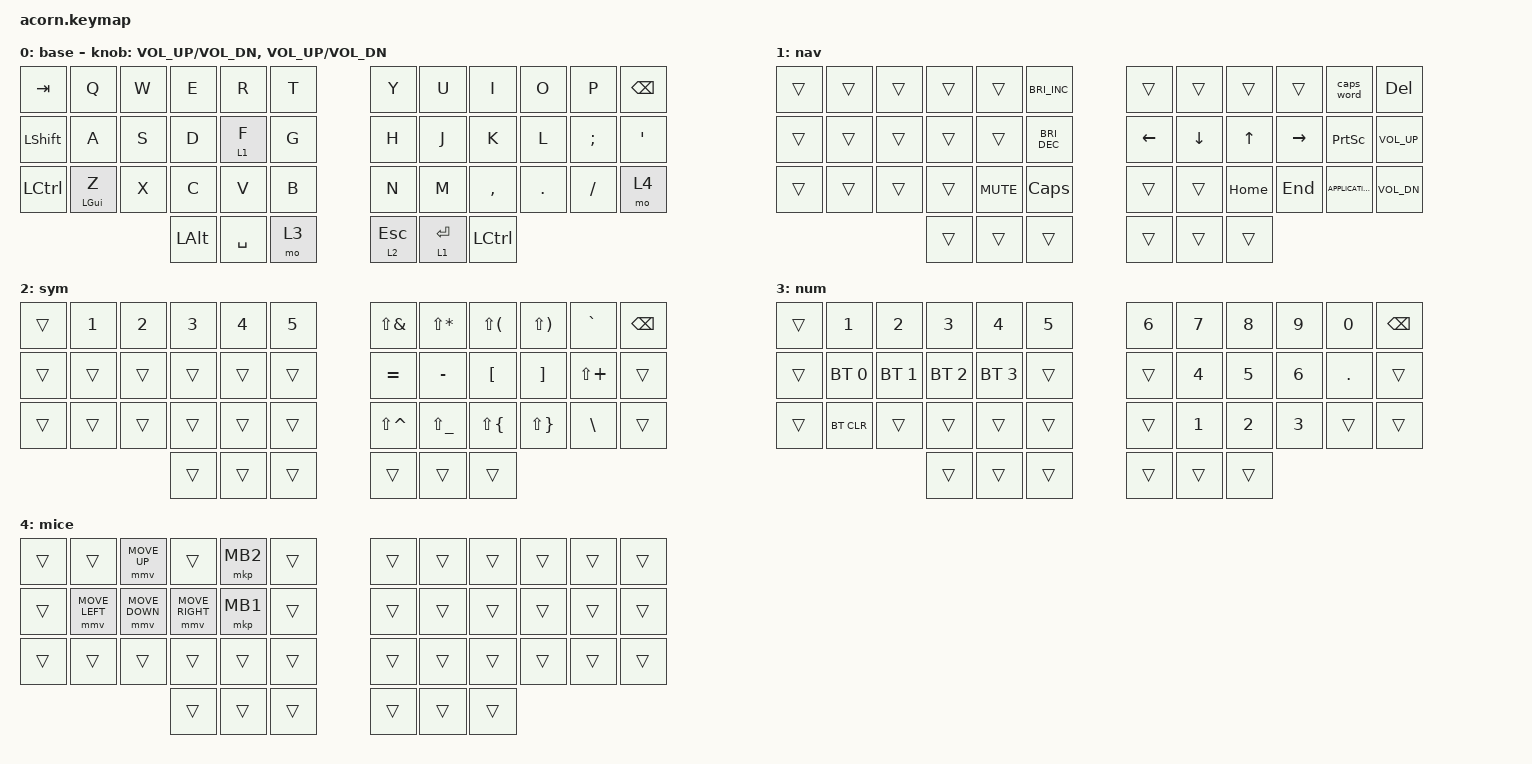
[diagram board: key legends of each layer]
#include <behaviors.dtsi>
#include <dt-bindings/zmk/bt.h>
#include <dt-bindings/zmk/keys.h>
#include <dt-bindings/zmk/pointing.h>

/ {
    combos {
        compatible = "zmk,combos";

        combo_studio_unlock {
            timeout-ms = <50>;
            key-positions = <0 1>;
            bindings = <&studio_unlock>;
        };
    };

    behaviors {
        z_gui: z_gui {
            compatible = "zmk,behavior-hold-tap";
            label = "Z_GUI";
            bindings = <&kp>, <&kp>;

            #binding-cells = <2>;
            tapping-term-ms = <200>;
            flavor = "tap-preferred";
        };

        f_nav: f_nav {
            compatible = "zmk,behavior-hold-tap";
            label = "F_NAV";
            bindings = <&mo>, <&kp>;

            #binding-cells = <2>;
            tapping-term-ms = <200>;
            flavor = "tap-preferred";
        };
    };

    keymap {
        compatible = "zmk,keymap";

        base {
            display-name = "base";
            sensor-bindings = <&inc_dec_kp C_VOL_UP C_VOL_DN &inc_dec_kp C_VOL_UP C_VOL_DN>;

            // -----------------------------------------------------------------------------------------
            // |  TAB |  Q  |  W  |  E  |  R  |  T  |   |  Y  |  U   |  I  |  O  |  P  | BSPC |
            // | CTRL |  A  |  S  |  D  |  F  |  G  |   |  H  |  J   |  K  |  L  |  ;  |  '   |
            // | SHFT |  Z  |  X  |  C  |  V  |  B  |   |  N  |  M   |  ,  |  .  |  /  | ESC  |
            //                    | GUI | LWR | SPC |   | ENT | RSE  | ALT |

            bindings = <
&kp TAB           &kp Q              &kp W  &kp E         &kp R       &kp T    &kp Y         &kp U        &kp I             &kp O    &kp P     &kp BSPC
&kp LEFT_SHIFT    &kp A              &kp S  &kp D         &f_nav 1 F  &kp G    &kp H         &kp J        &kp K             &kp L    &kp SEMI  &kp SQT
&kp LEFT_CONTROL  &z_gui LEFT_GUI Z  &kp X  &kp C         &kp V       &kp B    &kp N         &kp M        &kp COMMA         &kp DOT  &kp FSLH  &mo 4
                                            &kp LEFT_ALT  &kp SPACE   &mo 3    &lt 2 ESCAPE  &lt 1 ENTER  &kp LEFT_CONTROL
            >;
        };

        nav {
            bindings = <
&trans  &trans  &trans  &trans  &trans      &kp C_BRIGHTNESS_INC    &trans    &trans    &trans    &trans     &caps_word         &kp DEL
&trans  &trans  &trans  &trans  &trans      &kp C_BRIGHTNESS_DEC    &kp LEFT  &kp DOWN  &kp UP    &kp RIGHT  &kp PRINTSCREEN    &kp C_VOLUME_UP
&trans  &trans  &trans  &trans  &kp K_MUTE  &kp CAPSLOCK            &trans    &trans    &kp HOME  &kp END    &kp K_APPLICATION  &kp C_VOL_DN
                        &trans  &trans      &trans                  &trans    &trans    &trans
            >;
        };

        sym {
            bindings = <
&trans  &kp N1  &kp N2  &kp N3  &kp N4  &kp N5    &kp LS(AMPS)   &kp LS(STAR)   &kp LS(LPAR)  &kp LS(RPAR)  &kp GRAVE     &kp BSPC
&trans  &trans  &trans  &trans  &trans  &trans    &kp EQUAL      &kp MINUS      &kp LBKT      &kp RBKT      &kp LS(PLUS)  &trans
&trans  &trans  &trans  &trans  &trans  &trans    &kp LS(CARET)  &kp LS(UNDER)  &kp LS(LBRC)  &kp LS(RBRC)  &kp BSLH      &trans
                        &trans  &trans  &trans    &trans         &trans         &trans
            >;
        };

        num {
            bindings = <
&trans  &kp N1        &kp N2        &kp N3        &kp N4        &kp N5    &kp N6  &kp N7  &kp N8  &kp N9  &kp N0   &kp BSPC
&trans  &bt BT_SEL 0  &bt BT_SEL 1  &bt BT_SEL 2  &bt BT_SEL 3  &trans    &trans  &kp N4  &kp N5  &kp N6  &kp DOT  &trans
&trans  &bt BT_CLR    &trans        &trans        &trans        &trans    &trans  &kp N1  &kp N2  &kp N3  &trans   &trans
                                    &trans        &trans        &trans    &trans  &trans  &trans
            >;
        };

        mice {
            bindings = <
&trans  &trans          &mmv MOVE_UP    &trans           &mkp MB2  &trans    &trans  &trans  &trans  &trans  &trans  &trans
&trans  &mmv MOVE_LEFT  &mmv MOVE_DOWN  &mmv MOVE_RIGHT  &mkp MB1  &trans    &trans  &trans  &trans  &trans  &trans  &trans
&trans  &trans          &trans          &trans           &trans    &trans    &trans  &trans  &trans  &trans  &trans  &trans
                                        &trans           &trans    &trans    &trans  &trans  &trans
            >;
        };
    };
};
